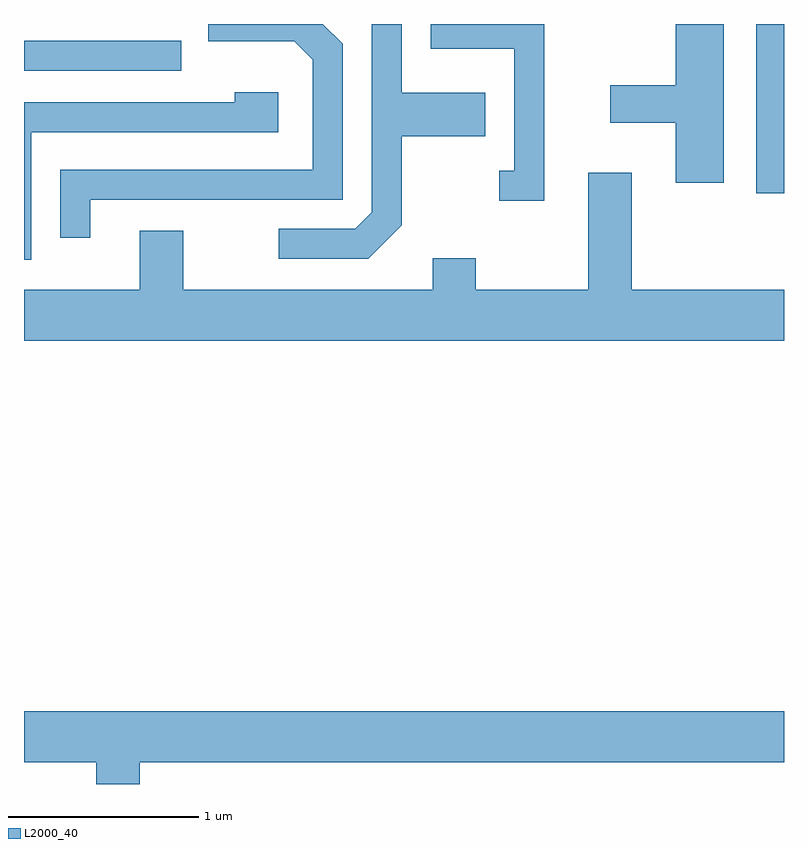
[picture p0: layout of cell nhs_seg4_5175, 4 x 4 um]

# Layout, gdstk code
import gdstk
lib = gdstk.Library(unit=1e-6, precision=1e-09)
def R(c, l, rs):  # rectangles x0, y0, x1, y1
    for r in rs: c.add(gdstk.rectangle(r[:2], r[2:], *l))
def P(c, l, *ps):  # polygons
    for p in ps: c.add(gdstk.Polygon(p, *l))
L2000_40 = (2000, 40)

nhs_seg4_5175 = lib.new_cell('nhs_seg4_5175')
R(nhs_seg4_5175, L2000_40, [(341.466,1271.091,341.611,1271.982), (337.611,1271.736,338.438,1271.894)])
P(nhs_seg4_5175, L2000_40, [(341.294,1271.982),(341.041,1271.982),(341.041,1271.659),(340.696,1271.659),(340.696,1271.461),(341.041,1271.461),(341.041,1271.146),(341.294,1271.146)],
  [(337.959,1271.056),(339.289,1271.056),(339.289,1271.877),(339.184,1271.982),(338.581,1271.982),(338.581,1271.891),(339.034,1271.891),(339.131,1271.794),(339.131,1271.214),(337.801,1271.214),(337.801,1270.858),(337.959,1270.858)],
  [(339.599,1270.924),(339.599,1271.391),(340.039,1271.391),(340.039,1271.619),(339.599,1271.619),(339.599,1271.982),(339.441,1271.982),(339.441,1270.992),(339.354,1270.904),(338.953,1270.904),(338.953,1270.746),(339.422,1270.746)],
  [(340.349,1271.982),(339.751,1271.982),(339.751,1271.851),(340.191,1271.851),(340.191,1271.209),(340.113,1271.209),(340.113,1271.051),(340.349,1271.051)],
  [(337.649,1271.411),(338.949,1271.411),(338.949,1271.624),(338.721,1271.624),(338.721,1271.569),(337.611,1271.569),(337.611,1270.741),(337.649,1270.741)],
  [(341.611,1270.584),(340.809,1270.584),(340.809,1271.199),(340.581,1271.199),(340.581,1270.584),(339.989,1270.584),(339.989,1270.749),(339.761,1270.749),(339.761,1270.584),(338.449,1270.584),(338.449,1270.894),(338.221,1270.894),(338.221,1270.584),(337.611,1270.584),(337.611,1270.316),(341.611,1270.316)],
  [(338.219,1268.096),(341.611,1268.096),(341.611,1268.364),(337.611,1268.364),(337.611,1268.096),(337.991,1268.096),(337.991,1267.982),(338.219,1267.982)])

lib.write_gds('nhs_seg4_5175.gds')
